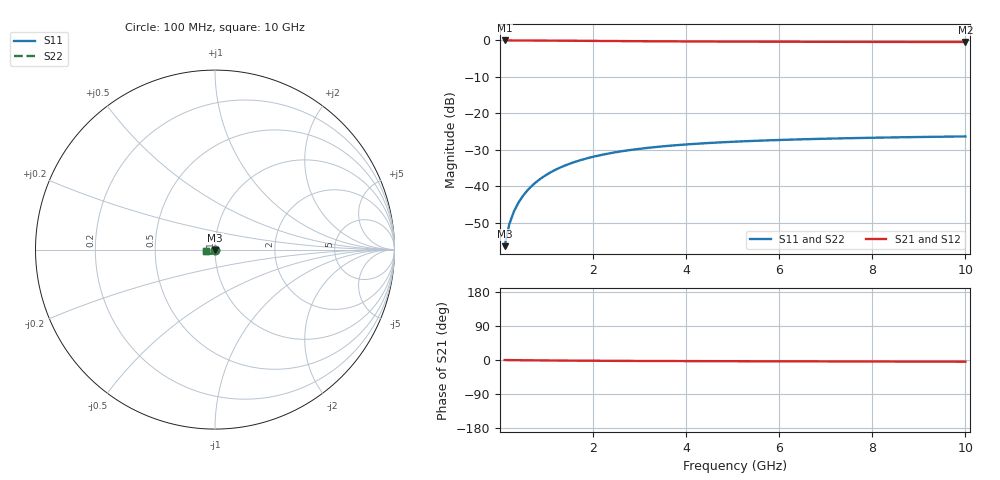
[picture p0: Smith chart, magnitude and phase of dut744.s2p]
! Touchstone file exported from HFSS 2024.1.0
!  File:  C:/UserFiles/LocalFiles/RDL_TSV_Batchsim/temp_TSV1_744_1779870531.aedt
!  Generated:  04:36:27 PM May 27, 2026
!  Design:  TSV1
!  Project:  temp_TSV1_744_1779870531
!  Setup:  Setup1
!  Solution:  Sweep
! Variables:
!  dtsv = 14.72um
!  hbump = 3um
!  htsv = 65.81um
!  lrdl = 252.1521522um
!  p = 40
!  p1 = 55.92um
!  t = 500um
!  trdl = 3um
!  wrdl = 24.89489489um
# GHz S MA R 50.000000
! Terminal data exported
! Port[1] = TSV22_T1
! Port[2] = TSV22_T2
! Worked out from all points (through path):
!   100 points, 100 MHz to 10 GHz, reference 50 ohm
!   highest |S21| = 0.00 dB at 100 MHz (marker M1); lowest = -0.4 dB at 10 GHz (marker M2)
!   lowest |S11| = -56.5 dB at 100 MHz (marker M3), VSWR 1.00, Z = 50 - j0.15 ohm
!   |S11| at or under -10 dB: start of sweep to end of sweep
!   |S22| runs from -56.5 to -26.4 dB; largest |S21 - S12| = 8.2e-15
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0.1  0.001497 -89.2  0.9999 -0.1  0.9999 -0.1  0.001497 -89.2
! Gamma 0 0 0 0
! Port Impedance 50 0 50 0
0.2  0.002993 -92.3  0.9997 -0.3  0.9997 -0.3  0.002993 -92.3
0.3  0.004486 -94.6  0.9994 -0.4  0.9994 -0.4  0.004486 -94.6
0.4  0.005968 -96.7  0.9991 -0.5  0.9991 -0.5  0.005968 -96.7
0.5  0.007432 -98.8  0.9986 -0.6  0.9986 -0.6  0.007432 -98.8
0.6  0.008874 -100.7  0.9981 -0.7  0.9981 -0.7  0.008874 -100.7
0.7  0.01029 -102.7  0.9975 -0.9  0.9975 -0.9  0.01029 -102.7
0.8  0.01167 -104.6  0.9968 -1.0  0.9968 -1.0  0.01167 -104.6
0.9  0.01302 -106.4  0.9961 -1.1  0.9961 -1.1  0.01302 -106.4
1.1  0.01561 -110.0  0.9944 -1.3  0.9944 -1.3  0.01561 -110.0
1.4  0.01919 -115.0  0.9917 -1.6  0.9917 -1.6  0.01919 -115.0
1.6  0.02138 -118.1  0.9898 -1.7  0.9898 -1.7  0.02138 -118.1
1.8  0.0234 -121.0  0.9878 -1.9  0.9878 -1.9  0.0234 -121.0
2.1  0.02613 -125.1  0.9849 -2.1  0.9849 -2.1  0.02613 -125.1
2.5  0.02928 -130.0  0.9811 -2.3  0.9811 -2.3  0.02928 -130.0
2.9  0.03192 -134.3  0.9777 -2.5  0.9777 -2.5  0.03192 -134.3
3.4  0.03467 -139.1  0.9738 -2.7  0.9738 -2.7  0.03467 -139.1
4.2  0.03807 -145.4  0.9686 -2.9  0.9686 -2.9  0.03807 -145.4
5.1  0.04088 -151.1  0.9641 -3.2  0.9641 -3.2  0.04088 -151.1
6.7  0.04427 -159.1  0.9584 -3.6  0.9584 -3.6  0.04427 -159.1
8.4  0.04659 -165.5  0.9544 -4.0  0.9544 -4.0  0.04659 -165.5
10  0.0481 -170.5  0.9518 -4.5  0.9518 -4.5  0.0481 -170.5
